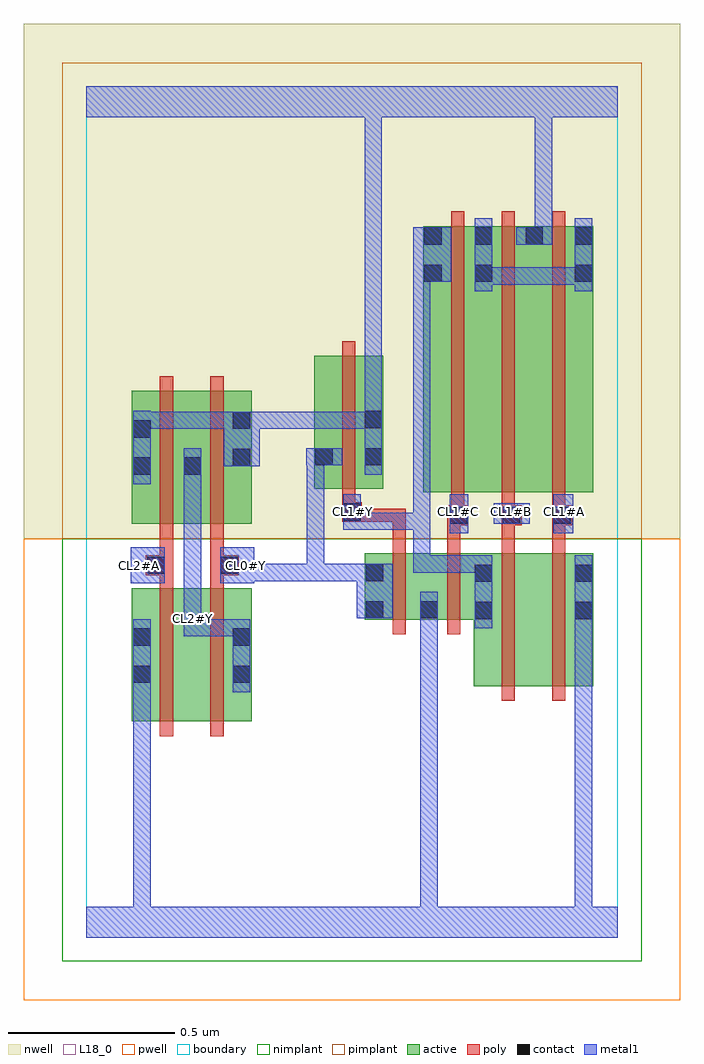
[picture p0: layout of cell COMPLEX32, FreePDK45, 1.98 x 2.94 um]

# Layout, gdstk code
import gdstk
lib = gdstk.Library(unit=1e-6, precision=1e-09)
def R(c, l, rs):  # rectangles x0, y0, x1, y1
    for r in rs: c.add(gdstk.rectangle(r[:2], r[2:], *l))
def A(c, l, x, y, w, h, nx, ny, dx, dy):  # array of equal rectangles
    R(c, l, [(x+i*dx, y+j*dy, x+i*dx+w, y+j*dy+h) for i in range(nx) for j in range(ny)])
active = (1, 0)
pwell = (2, 0)
nwell = (3, 0)
nimplant = (4, 0)
pimplant = (5, 0)
poly = (9, 0)
contact = (10, 0)
metal1 = (11, 0)
L18_0 = (18, 0)
boundary = (235, 0)

complex32 = lib.new_cell('COMPLEX32')
R(complex32, active, [(0.138,0.65,0.318,1.05), (0.318,0.65,0.498,1.05), (0.138,0.756,0.198,1.05), (0.438,0.756,0.498,1.05), (1.166,0.756,1.226,1.156), (1.166,0.756,1.346,1.156), (1.346,0.756,1.526,1.156), (1.466,0.756,1.526,1.156), (0.838,0.956,1.062,1.156), (0.838,0.956,0.898,1.156), (1.002,0.956,1.226,1.156), (1.002,0.956,1.062,1.156), (0.138,1.244,0.198,1.644), (0.138,1.244,0.35,1.644), (0.29,1.244,0.35,1.644), (0.29,1.244,0.498,1.644), (0.438,1.244,0.498,1.644), (1.014,1.34,1.074,2.14), (1.014,1.34,1.226,2.14), (1.166,1.34,1.378,2.14), (1.318,1.34,1.526,2.14), (1.466,1.34,1.526,2.14), (0.686,1.35,0.746,1.644), (0.686,1.35,0.894,1.75), (0.834,1.35,0.894,1.644), (1.166,1.686,1.226,2.14), (1.318,1.686,1.378,2.14)])
R(complex32, pwell, [(-0.188,-0.188,1.788,1.2)])
R(complex32, nwell, [(-0.188,1.2,1.788,2.748)])
R(complex32, nimplant, [(-0.072,-0.072,1.672,1.2)])
R(complex32, pimplant, [(-0.072,1.2,1.672,2.632)])
A(complex32, poly, 1.098, 1.26, 0.04, 0.076, 3, 1, 0.152, 0)
A(complex32, poly, 1.098, 1.296, 0.04, 0.888, 3, 1, 0.152, 0)
R(complex32, poly, [(0.222,0.606,0.262,1.094), (0.374,0.606,0.414,1.094), (1.25,0.712,1.29,1.2), (1.402,0.712,1.442,1.2), (0.922,0.912,0.962,1.2), (1.086,0.912,1.126,1.2), (0.222,1.054,0.262,1.13), (0.374,1.054,0.414,1.13), (0.18,1.09,0.262,1.15), (0.222,1.09,0.262,1.13), (0.222,1.09,0.262,1.13), (0.374,1.09,0.414,1.13), (0.374,1.09,0.414,1.13), (0.374,1.09,0.46,1.15), (0.222,1.11,0.262,1.24), (0.374,1.11,0.414,1.24), (0.922,1.16,0.962,1.29), (1.086,1.16,1.126,1.28), (1.25,1.16,1.29,1.28), (1.402,1.16,1.442,1.28), (0.222,1.2,0.262,1.688), (0.374,1.2,0.414,1.688), (1.086,1.24,1.13,1.28), (1.09,1.24,1.13,1.28), (1.09,1.24,1.15,1.3), (1.25,1.24,1.29,1.28), (1.25,1.24,1.29,1.28), (1.25,1.24,1.31,1.3), (1.402,1.24,1.442,1.28), (1.402,1.24,1.442,1.28), (1.402,1.24,1.462,1.3), (0.77,1.25,0.83,1.31), (0.79,1.25,0.83,1.29), (0.79,1.25,0.962,1.29), (0.77,1.27,0.81,1.346), (0.77,1.306,0.81,1.794)])
A(complex32, contact, 1.018, 2.084, 0.052, 0.052, 3, 1, 0.152, 0)
R(complex32, contact, [(0.142,0.766,0.194,0.818), (0.442,0.766,0.494,0.818), (0.142,0.878,0.194,0.93), (0.442,0.878,0.494,0.93), (1.17,0.958,1.222,1.01), (1.47,0.958,1.522,1.01), (0.842,0.96,0.894,1.012), (1.006,0.96,1.058,1.012), (1.17,1.07,1.222,1.122), (1.47,1.07,1.522,1.122), (0.842,1.072,0.894,1.124), (0.184,1.094,0.236,1.146), (0.404,1.094,0.456,1.146), (1.094,1.244,1.146,1.296), (1.254,1.244,1.306,1.296), (1.406,1.244,1.458,1.296), (0.774,1.254,0.826,1.306), (0.142,1.392,0.194,1.444), (0.294,1.392,0.346,1.444), (0.442,1.418,0.494,1.47), (0.69,1.42,0.742,1.472), (0.838,1.42,0.89,1.472), (0.142,1.504,0.194,1.556), (0.442,1.53,0.494,1.582), (0.838,1.532,0.89,1.584), (1.018,1.972,1.07,2.024), (1.17,1.972,1.222,2.024), (1.47,1.972,1.522,2.024), (1.47,2.084,1.522,2.136)])
R(complex32, metal1, [(0,0,1.6,0.092), (0.142,0.04,0.194,0.092), (0.142,0.04,0.194,0.092), (0.142,0.04,0.194,0.79), (1.006,0.04,1.058,0.092), (1.006,0.04,1.058,0.092), (1.006,0.04,1.058,0.092), (1.006,0.04,1.058,0.092), (1.006,0.04,1.058,0.092), (1.006,0.04,1.058,0.092), (1.006,0.04,1.058,0.092), (1.006,0.04,1.058,0.092), (1.006,0.04,1.058,0.092), (1.006,0.04,1.058,0.092), (1.006,0.04,1.058,0.092), (1.006,0.04,1.058,0.092), (1.006,0.04,1.058,0.092), (1.006,0.04,1.058,0.092), (1.006,0.04,1.058,0.092), (1.006,0.04,1.058,0.092), (1.006,0.04,1.058,0.984), (1.47,0.04,1.522,0.092), (1.47,0.04,1.522,0.092), (1.47,0.04,1.522,0.092), (1.47,0.04,1.522,0.092), (1.47,0.04,1.522,0.092), (1.47,0.04,1.522,0.092), (1.47,0.04,1.522,0.092), (1.47,0.04,1.522,0.092), (1.47,0.04,1.522,0.092), (1.47,0.04,1.522,0.092), (1.47,0.04,1.522,0.092), (1.47,0.04,1.522,0.092), (1.47,0.04,1.522,0.982), (0.142,0.738,0.194,0.79), (0.142,0.738,0.194,0.79), (0.142,0.738,0.194,0.79), (0.142,0.738,0.194,0.79), (0.142,0.738,0.194,0.79), (0.142,0.738,0.194,0.79), (0.142,0.738,0.194,0.79), (0.142,0.738,0.194,0.79), (0.142,0.738,0.194,0.79), (0.142,0.738,0.194,0.79), (0.142,0.738,0.194,0.958), (0.442,0.738,0.494,0.958), (0.294,0.906,0.346,0.958), (0.294,0.906,0.346,0.958), (0.294,0.906,0.346,1.014), (0.294,0.906,0.494,0.958), (0.442,0.906,0.494,0.958), (0.442,0.906,0.494,0.958), (1.17,0.93,1.222,1.15), (1.47,0.93,1.522,1.15), (1.006,0.932,1.058,1.04), (0.814,0.96,0.922,1.124), (0.294,0.962,0.346,1.416), (0.134,1.066,0.236,1.174), (0.404,1.066,0.506,1.174), (0.454,1.072,0.506,1.124), (0.454,1.072,0.506,1.124), (0.454,1.072,0.716,1.124), (0.664,1.072,0.716,1.124), (0.664,1.072,0.716,1.124), (0.664,1.072,0.716,1.472), (0.664,1.072,0.866,1.124), (0.814,1.072,0.866,1.124), (0.984,1.098,1.036,1.15), (0.984,1.098,1.036,1.15), (0.984,1.098,1.036,1.15), (0.984,1.098,1.222,1.15), (0.984,1.098,1.036,1.278), (1.17,1.098,1.222,1.15), (1.17,1.098,1.222,1.15), (1.094,1.216,1.15,1.334), (1.406,1.216,1.466,1.334), (0.774,1.226,0.826,1.278), (0.774,1.226,0.826,1.278), (0.774,1.226,1.036,1.278), (0.774,1.226,0.826,1.334), (0.984,1.226,1.036,1.278), (0.984,1.226,1.036,2.024), (1.226,1.244,1.334,1.306), (0.142,1.364,0.194,1.584), (0.294,1.364,0.346,1.416), (0.294,1.364,0.346,1.416), (0.294,1.364,0.346,1.472), (0.838,1.392,0.89,1.612), (0.414,1.418,0.522,1.582), (0.662,1.42,0.77,1.472), (0.142,1.53,0.194,1.582), (0.142,1.53,0.194,1.582), (0.142,1.53,0.356,1.582), (0.304,1.53,0.356,1.582), (0.304,1.53,0.356,1.582), (0.304,1.53,0.356,1.582), (0.304,1.53,0.466,1.582), (0.47,1.53,0.716,1.582), (0.664,1.53,0.716,1.582), (0.664,1.53,0.716,1.582), (0.664,1.53,0.716,1.582), (0.664,1.53,0.89,1.582), (0.838,1.56,0.89,1.612), (0.838,1.56,0.89,1.612), (0.838,1.56,0.89,1.612), (0.838,1.56,0.89,1.612), (0.838,1.56,0.89,1.612), (0.838,1.56,0.89,1.612), (0.838,1.56,0.89,1.612), (0.838,1.56,0.89,1.612), (0.838,1.56,0.89,1.612), (0.838,1.56,0.89,1.612), (0.838,1.56,0.89,1.612), (0.838,1.56,0.89,1.612), (0.838,1.56,0.89,1.612), (0.838,1.56,0.89,1.612), (0.838,1.56,0.89,1.612), (0.838,1.56,0.89,1.612), (0.838,1.56,0.89,2.52), (1.17,1.944,1.222,2.164), (1.47,1.944,1.522,2.164), (1.17,1.964,1.332,2.016), (1.28,1.964,1.332,2.016), (1.28,1.964,1.332,2.016), (1.28,1.964,1.332,2.016), (1.28,1.964,1.522,2.016), (1.47,1.964,1.522,2.016), (1.47,1.964,1.522,2.016), (0.984,1.972,1.098,2.136), (1.294,2.084,1.402,2.136), (1.35,2.084,1.402,2.136), (1.35,2.084,1.402,2.136), (1.35,2.084,1.402,2.136), (1.35,2.084,1.402,2.136), (1.35,2.084,1.402,2.136), (1.35,2.084,1.402,2.136), (1.35,2.084,1.402,2.52), (0,2.468,1.6,2.56), (1.35,2.468,1.402,2.52), (1.35,2.468,1.402,2.52)])
A(complex32, L18_0, 1.094, 1.254, 0.052, 0.052, 3, 1, 0.16, 0)
R(complex32, L18_0, [(0,0,1.6,0.092), (0.142,0.04,0.194,0.092), (0.142,0.04,0.194,0.092), (0.142,0.04,0.194,0.79), (1.006,0.04,1.058,0.092), (1.006,0.04,1.058,0.092), (1.006,0.04,1.058,0.092), (1.006,0.04,1.058,0.092), (1.006,0.04,1.058,0.092), (1.006,0.04,1.058,0.092), (1.006,0.04,1.058,0.092), (1.006,0.04,1.058,0.092), (1.006,0.04,1.058,0.092), (1.006,0.04,1.058,0.092), (1.006,0.04,1.058,0.092), (1.006,0.04,1.058,0.092), (1.006,0.04,1.058,0.092), (1.006,0.04,1.058,0.092), (1.006,0.04,1.058,0.092), (1.006,0.04,1.058,0.092), (1.006,0.04,1.058,0.984), (1.47,0.04,1.522,0.092), (1.47,0.04,1.522,0.092), (1.47,0.04,1.522,0.092), (1.47,0.04,1.522,0.092), (1.47,0.04,1.522,0.092), (1.47,0.04,1.522,0.092), (1.47,0.04,1.522,0.092), (1.47,0.04,1.522,0.092), (1.47,0.04,1.522,0.092), (1.47,0.04,1.522,0.092), (1.47,0.04,1.522,0.092), (1.47,0.04,1.522,0.092), (1.47,0.04,1.522,0.982), (0.142,0.738,0.194,0.79), (0.142,0.738,0.194,0.79), (0.142,0.738,0.194,0.79), (0.142,0.738,0.194,0.79), (0.142,0.738,0.194,0.79), (0.142,0.738,0.194,0.79), (0.142,0.738,0.194,0.79), (0.142,0.738,0.194,0.79), (0.142,0.738,0.194,0.79), (0.142,0.738,0.194,0.79), (0.142,0.738,0.194,0.958), (0.442,0.738,0.494,0.958), (0.294,0.906,0.346,0.958), (0.294,0.906,0.346,0.958), (0.294,0.906,0.346,1.014), (0.294,0.906,0.494,0.958), (0.442,0.906,0.494,0.958), (0.442,0.906,0.494,0.958), (1.17,0.93,1.222,1.15), (1.47,0.93,1.522,1.15), (1.006,0.932,1.058,1.04), (0.294,0.934,0.346,0.986), (0.814,0.96,0.922,1.124), (0.294,0.962,0.346,1.416), (0.134,1.066,0.236,1.174), (0.404,1.066,0.506,1.174), (0.454,1.072,0.506,1.124), (0.454,1.072,0.506,1.124), (0.454,1.072,0.716,1.124), (0.664,1.072,0.716,1.124), (0.664,1.072,0.716,1.124), (0.664,1.072,0.866,1.124), (0.664,1.072,0.716,1.472), (0.814,1.072,0.866,1.124), (0.134,1.094,0.186,1.146), (0.454,1.094,0.506,1.146), (0.984,1.098,1.036,1.15), (0.984,1.098,1.036,1.15), (0.984,1.098,1.036,1.15), (0.984,1.098,1.036,1.278), (0.984,1.098,1.222,1.15), (1.17,1.098,1.222,1.15), (1.17,1.098,1.222,1.15), (1.094,1.216,1.15,1.334), (1.406,1.216,1.466,1.334), (0.774,1.226,0.826,1.278), (0.774,1.226,0.826,1.278), (0.774,1.226,0.826,1.334), (0.774,1.226,1.036,1.278), (0.984,1.226,1.036,1.278), (0.984,1.226,1.036,2.024), (1.226,1.244,1.334,1.306), (0.774,1.254,0.826,1.306), (0.142,1.364,0.194,1.584), (0.294,1.364,0.346,1.416), (0.294,1.364,0.346,1.416), (0.294,1.364,0.346,1.472), (0.838,1.392,0.89,1.612), (0.414,1.418,0.522,1.582), (0.662,1.42,0.77,1.472), (0.142,1.53,0.194,1.582), (0.142,1.53,0.194,1.582), (0.142,1.53,0.356,1.582), (0.304,1.53,0.356,1.582), (0.304,1.53,0.356,1.582), (0.304,1.53,0.356,1.582), (0.304,1.53,0.466,1.582), (0.47,1.53,0.716,1.582), (0.664,1.53,0.716,1.582), (0.664,1.53,0.716,1.582), (0.664,1.53,0.716,1.582), (0.664,1.53,0.89,1.582), (0.838,1.56,0.89,1.612), (0.838,1.56,0.89,1.612), (0.838,1.56,0.89,1.612), (0.838,1.56,0.89,1.612), (0.838,1.56,0.89,1.612), (0.838,1.56,0.89,1.612), (0.838,1.56,0.89,1.612), (0.838,1.56,0.89,1.612), (0.838,1.56,0.89,1.612), (0.838,1.56,0.89,1.612), (0.838,1.56,0.89,1.612), (0.838,1.56,0.89,1.612), (0.838,1.56,0.89,1.612), (0.838,1.56,0.89,1.612), (0.838,1.56,0.89,1.612), (0.838,1.56,0.89,1.612), (0.838,1.56,0.89,2.52), (0.984,1.972,1.098,2.136), (1.294,2.084,1.402,2.136), (1.35,2.084,1.402,2.136), (1.35,2.084,1.402,2.136), (1.35,2.084,1.402,2.136), (1.35,2.084,1.402,2.136), (1.35,2.084,1.402,2.136), (1.35,2.084,1.402,2.136), (1.35,2.084,1.402,2.52), (0,2.468,1.6,2.56), (1.35,2.468,1.402,2.52), (1.35,2.468,1.402,2.52)])
R(complex32, boundary, [(0,0,1.6,2.56)])
complex32.add(gdstk.Label('CL0#Y', (0.48,1.12), layer=11, texttype=0))
complex32.add(gdstk.Label('CL1#A', (1.44,1.28), layer=11, texttype=0))
complex32.add(gdstk.Label('CL1#B', (1.28,1.28), layer=11, texttype=0))
complex32.add(gdstk.Label('CL1#C', (1.12,1.28), layer=11, texttype=0))
complex32.add(gdstk.Label('CL1#Y', (0.8,1.28), layer=11, texttype=0))
complex32.add(gdstk.Label('CL2#A', (0.16,1.12), layer=11, texttype=0))
complex32.add(gdstk.Label('CL2#Y', (0.32,0.96), layer=11, texttype=0))

lib.write_gds('COMPLEX32.gds')
